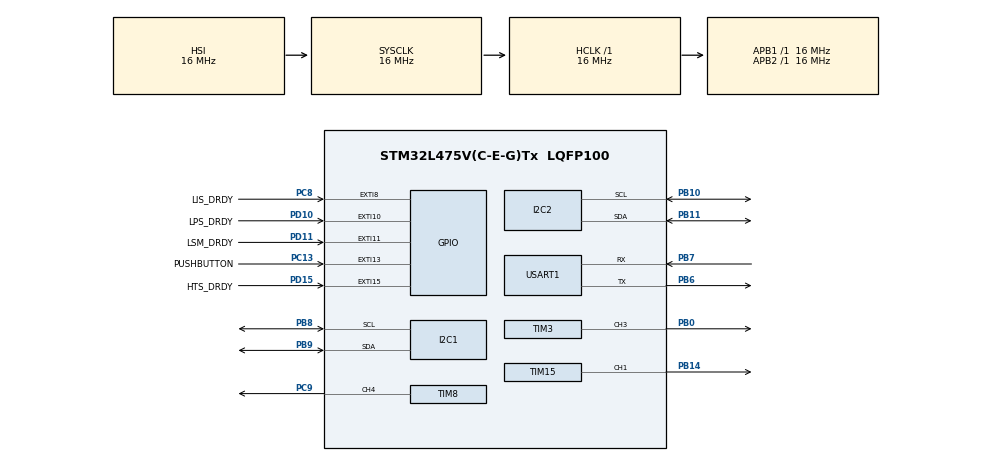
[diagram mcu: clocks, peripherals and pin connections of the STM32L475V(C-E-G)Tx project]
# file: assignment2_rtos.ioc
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Dma.Request0=USART1_RX
Dma.Request1=USART1_TX
Dma.USART1_RX.0.Direction=DMA_PERIPH_TO_MEMORY
Dma.USART1_RX.0.Instance=DMA1_Channel5
Dma.USART1_RX.0.MemDataAlignment=DMA_MDATAALIGN_BYTE
Dma.USART1_RX.0.MemInc=DMA_MINC_ENABLE
Dma.USART1_RX.0.Mode=DMA_CIRCULAR
Dma.USART1_RX.0.PeriphDataAlignment=DMA_PDATAALIGN_BYTE
Dma.USART1_RX.0.PeriphInc=DMA_PINC_DISABLE
Dma.USART1_RX.0.Priority=DMA_PRIORITY_LOW
Dma.USART1_TX.1.Direction=DMA_MEMORY_TO_PERIPH
Dma.USART1_TX.1.Instance=DMA1_Channel4
Dma.USART1_TX.1.MemDataAlignment=DMA_MDATAALIGN_BYTE
Dma.USART1_TX.1.MemInc=DMA_MINC_ENABLE
Dma.USART1_TX.1.Mode=DMA_NORMAL
Dma.USART1_TX.1.PeriphDataAlignment=DMA_PDATAALIGN_BYTE
Dma.USART1_TX.1.PeriphInc=DMA_PINC_DISABLE
Dma.USART1_TX.1.Priority=DMA_PRIORITY_LOW
FREERTOS.INCLUDE_vTaskDelayUntil=1
FREERTOS.INCLUDE_xEventGroupSetBitFromISR=1
FREERTOS.INCLUDE_xQueueGetMutexHolder=1
FREERTOS.INCLUDE_xSemaphoreGetMutexHolder=1
FREERTOS.INCLUDE_xTaskGetCurrentTaskHandle=1
FREERTOS.INCLUDE_xTimerPendFunctionCall=1
FREERTOS.Tasks01=defaultTask,-3,512,StartDefaultTask,Default,NULL,Dynamic,NULL,NULL
FREERTOS.configCHECK_FOR_STACK_OVERFLOW=2
FREERTOS.configLIBRARY_LOWEST_INTERRUPT_PRIORITY=7
FREERTOS.configMAX_PRIORITIES=7
FREERTOS.configMINIMAL_STACK_SIZE=128
FREERTOS.configTOTAL_HEAP_SIZE=30000
FREERTOS.configUSE_COUNTING_SEMAPHORES=1
FREERTOS.configUSE_CO_ROUTINES=1
FREERTOS.configUSE_NEWLIB_REENTRANT=1
FREERTOS.configUSE_RECURSIVE_MUTEXES=1
FREERTOS.configUSE_TIMERS=1
I2C1.Timing=0x00303D5B
I2C2.Timing=0x00303D5B
Mcu.Family=STM32L4
Mcu.Name=STM32L475V(C-E-G)Tx
Mcu.Package=LQFP100
NVIC.DMA1_Channel4_IRQn=true\:5\:0\:false\:false\:true\:true\:false\:true\:true
NVIC.DMA1_Channel5_IRQn=true\:5\:0\:false\:false\:true\:true\:false\:true\:true
NVIC.EXTI15_10_IRQn=true\:5\:0\:false\:false\:true\:true\:true\:true\:true
NVIC.EXTI9_5_IRQn=true\:5\:0\:false\:false\:true\:true\:true\:true\:true
NVIC.PriorityGroup=NVIC_PRIORITYGROUP_4
NVIC.TIM6_DAC_IRQn=true\:15\:0\:false\:false\:true\:false\:false\:true\:true
NVIC.TimeBase=TIM6_DAC_IRQn
NVIC.TimeBaseIP=TIM6
NVIC.USART1_IRQn=true\:5\:0\:false\:false\:true\:true\:true\:true\:true
PB0.Signal=S_TIM3_CH3
PB10.Mode=I2C
PB10.Signal=I2C2_SCL
PB11.Mode=I2C
PB11.Signal=I2C2_SDA
PB14.Signal=S_TIM15_CH1
PB6.Mode=Asynchronous
PB6.Signal=USART1_TX
PB7.Mode=Asynchronous
PB7.Signal=USART1_RX
PB8.Mode=I2C
PB8.Signal=I2C1_SCL
PB9.Mode=I2C
PB9.Signal=I2C1_SDA
PC13.GPIO_Label=PUSHBUTTON
PC13.GPIO_ModeDefaultEXTI=GPIO_MODE_IT_FALLING
PC13.GPIO_PuPd=GPIO_PULLUP
PC13.Signal=GPXTI13
PC8.GPIO_Label=LIS_DRDY
PC8.GPIO_PuPd=GPIO_PULLDOWN
PC8.Signal=GPXTI8
PC9.Signal=S_TIM8_CH4
PD10.GPIO_Label=LPS_DRDY
PD10.GPIO_PuPd=GPIO_PULLDOWN
PD10.Signal=GPXTI10
PD11.GPIO_Label=LSM_DRDY
PD11.GPIO_PuPd=GPIO_PULLDOWN
PD11.Signal=GPXTI11
PD15.GPIO_Label=HTS_DRDY
PD15.GPIO_PuPd=GPIO_PULLDOWN
PD15.Signal=GPXTI15
PH0-OSC_IN\ (PH0).Mode=HSE-External-Oscillator
PH0-OSC_IN\ (PH0).Signal=RCC_OSC_IN
PH1-OSC_OUT\ (PH1).Mode=HSE-External-Oscillator
PH1-OSC_OUT\ (PH1).Signal=RCC_OSC_OUT
ProjectManager.HeapSize=0x1200
ProjectManager.StackSize=0x3000
ProjectManager.TargetToolchain=STM32CubeIDE
RCC.ADCFreq_Value=32000000
RCC.AHBFreq_Value=16000000
RCC.APB1Freq_Value=16000000
RCC.APB1TimFreq_Value=16000000
RCC.APB2Freq_Value=16000000
RCC.APB2TimFreq_Value=16000000
RCC.CortexFreq_Value=16000000
RCC.HCLKFreq_Value=16000000
RCC.HSE_VALUE=8000000
RCC.HSI_VALUE=16000000
RCC.LSE_VALUE=32768
RCC.MSI_VALUE=4000000
RCC.PLLN=16
RCC.PLLSourceVirtual=RCC_PLLSOURCE_HSE
RCC.SYSCLKFreq_VALUE=16000000
RCC.SYSCLKSource=RCC_SYSCLKSOURCE_HSI
RCC.USBFreq_Value=32000000
RCC.VCOOutputFreq_Value=128000000
SH.S_TIM15_CH1.0=TIM15_CH1,PWM Generation1 CH1
SH.S_TIM3_CH3.0=TIM3_CH3,PWM Generation3 CH3
SH.S_TIM8_CH4.0=TIM8_CH4,PWM Generation4 CH4
TIM15.Channel-PWM\ Generation1\ CH1=TIM_CHANNEL_1
TIM15.Period=1999
TIM15.Prescaler=119
TIM3.Channel-PWM\ Generation3\ CH3=TIM_CHANNEL_3
TIM3.Period=4545
TIM3.Prescaler=8-1
TIM8.Channel-PWM\ Generation4\ CH4=TIM_CHANNEL_4
TIM8.OCIdleState_4=TIM_OCIDLESTATE_SET
TIM8.Period=9999
TIM8.Prescaler=1599
TIM8.Pulse-PWM\ Generation4\ CH4=9999
USART1.VirtualMode-Asynchronous=VM_ASYNC
VP_FREERTOS_VS_CMSIS_V1.Mode=CMSIS_V1
VP_SYS_VS_tim6.Mode=TIM6
board=custom

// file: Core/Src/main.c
/* USER CODE BEGIN Header */
/**
  ******************************************************************************
  * @file           : main.c
  * @brief          : Main program body
  ******************************************************************************
  * @attention
  *
  * Copyright (c) 2023 STMicroelectronics.
  * All rights reserved.
  *
  * This software is licensed under terms that can be found in the LICENSE file
  * in the root directory of this software component.
  * If no LICENSE file comes with this software, it is provided AS-IS.
  *
  ******************************************************************************
  */
/* USER CODE END Header */
#include "main.h"
#include "cmsis_os.h"
#include "dma.h"
#include "i2c.h"
#include "tim.h"
#include "usart.h"
#include "gpio.h"

/* USER CODE BEGIN Includes */
#include "stdio.h"
/* USER CODE END Includes */

void SystemClock_Config(void);
void MX_FREERTOS_Init(void);

int main(void)
{

  /* MCU Configuration--------------------------------------------------------*/

  /* Reset of all peripherals, Initializes the Flash interface and the Systick. */
  HAL_Init();

  /* Configure the system clock */
  SystemClock_Config();

  /* Initialize all configured peripherals */
  MX_GPIO_Init();
  MX_DMA_Init();
  MX_USART1_UART_Init();
  MX_TIM3_Init();
  MX_TIM8_Init();
  MX_TIM15_Init();
  MX_I2C1_Init();
  MX_I2C2_Init();

  /* Call init function for freertos objects (in freertos.c) */
  MX_FREERTOS_Init();

  /* Start scheduler */
  osKernelStart();

  /* We should never get here as control is now taken by the scheduler */
  /* Infinite loop */
  while (1)
  {

  }
}

void SystemClock_Config(void)
{
  RCC_OscInitTypeDef RCC_OscInitStruct = {0};
  RCC_ClkInitTypeDef RCC_ClkInitStruct = {0};

  /** Configure the main internal regulator output voltage
  */
  if (HAL_PWREx_ControlVoltageScaling(PWR_REGULATOR_VOLTAGE_SCALE1) != HAL_OK)
  {
    Error_Handler();
  }

  /** Initializes the RCC Oscillators according to the specified parameters
  * in the RCC_OscInitTypeDef structure.
  */
  RCC_OscInitStruct.OscillatorType = RCC_OSCILLATORTYPE_HSI;
  RCC_OscInitStruct.HSIState = RCC_HSI_ON;
  RCC_OscInitStruct.HSICalibrationValue = RCC_HSICALIBRATION_DEFAULT;
  RCC_OscInitStruct.PLL.PLLState = RCC_PLL_NONE;
  if (HAL_RCC_OscConfig(&RCC_OscInitStruct) != HAL_OK)
  {
    Error_Handler();
  }

  /** Initializes the CPU, AHB and APB buses clocks
  */
  RCC_ClkInitStruct.ClockType = RCC_CLOCKTYPE_HCLK|RCC_CLOCKTYPE_SYSCLK
                              |RCC_CLOCKTYPE_PCLK1|RCC_CLOCKTYPE_PCLK2;
  RCC_ClkInitStruct.SYSCLKSource = RCC_SYSCLKSOURCE_HSI;
  RCC_ClkInitStruct.AHBCLKDivider = RCC_SYSCLK_DIV1;
  RCC_ClkInitStruct.APB1CLKDivider = RCC_HCLK_DIV1;
  RCC_ClkInitStruct.APB2CLKDivider = RCC_HCLK_DIV1;

  if (HAL_RCC_ClockConfig(&RCC_ClkInitStruct, FLASH_LATENCY_0) != HAL_OK)
  {
    Error_Handler();
  }
}

void HAL_TIM_PeriodElapsedCallback(TIM_HandleTypeDef *htim)
{
  if (htim->Instance == TIM6) {
    HAL_IncTick();
  }
}

void Error_Handler(void)
{
  __disable_irq();
  while (1)
  {
  }
}

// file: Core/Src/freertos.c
/* USER CODE BEGIN Header */
/**
 ******************************************************************************
 * File Name          : freertos.c
 * Description        : Code for freertos applications
 ******************************************************************************
 * @attention
 *
 * Copyright (c) 2023 STMicroelectronics.
 * All rights reserved.
 *
 * This software is licensed under terms that can be found in the LICENSE file
 * in the root directory of this software component.
 * If no LICENSE file comes with this software, it is provided AS-IS.
 *
 ******************************************************************************
 */
/* USER CODE END Header */

#include "FreeRTOS.h"
#include "task.h"
#include "main.h"
#include "cmsis_os.h"

/* USER CODE BEGIN Includes */
#include "rtos_incs.h"
#include "lis_task.h"
#include "lps_task.h"
#include "lsm_task.h"
#include "hts_task.h"
#include "uart1_task.h"
#include "buzzer_task.h"
#include "warship_task.h"
#include "matrix_task.h"
/* USER CODE END Includes */

/* USER CODE BEGIN Variables */

TaskHandle_t uart1_task_handle;
TaskHandle_t lis_task_handle;
TaskHandle_t lps_task_handle;
TaskHandle_t lsm_task_handle;
TaskHandle_t hts_task_handle;
TaskHandle_t warship_task_handle;
TaskHandle_t buzzer_task_handle;
TaskHandle_t matrix_task_handle;

QueueHandle_t UART1_queue;

SemaphoreHandle_t iic2Mutex;
EventGroupHandle_t changeStateFlag;

/* USER CODE END Variables */
osThreadId defaultTaskHandle;

void StartDefaultTask(void const * argument);

void MX_FREERTOS_Init(void); /* (MISRA C 2004 rule 8.1) */

/* GetIdleTaskMemory prototype (linked to static allocation support) */
void vApplicationGetIdleTaskMemory( StaticTask_t **ppxIdleTaskTCBBuffer, StackType_t **ppxIdleTaskStackBuffer, uint32_t *pulIdleTaskStackSize );

/* GetTimerTaskMemory prototype (linked to static allocation support) */
void vApplicationGetTimerTaskMemory( StaticTask_t **ppxTimerTaskTCBBuffer, StackType_t **ppxTimerTaskStackBuffer, uint32_t *pulTimerTaskStackSize );

/* Hook prototypes */
void vApplicationStackOverflowHook(xTaskHandle xTask, signed char *pcTaskName);

/* USER CODE BEGIN 4 */
__weak void vApplicationStackOverflowHook(xTaskHandle xTask,
		signed char *pcTaskName) {
	/* Run time stack overflow checking is performed if
	 configCHECK_FOR_STACK_OVERFLOW is defined to 1 or 2. This hook function is
	 called if a stack overflow is detected. */
}
/* USER CODE END 4 */

/* USER CODE BEGIN GET_IDLE_TASK_MEMORY */
static StaticTask_t xIdleTaskTCBBuffer;
static StackType_t xIdleStack[configMINIMAL_STACK_SIZE];

void vApplicationGetIdleTaskMemory(StaticTask_t **ppxIdleTaskTCBBuffer,
		StackType_t **ppxIdleTaskStackBuffer, uint32_t *pulIdleTaskStackSize) {
	*ppxIdleTaskTCBBuffer = &xIdleTaskTCBBuffer;
	*ppxIdleTaskStackBuffer = &xIdleStack[0];
	*pulIdleTaskStackSize = configMINIMAL_STACK_SIZE;
	/* place for user code */
}
/* USER CODE END GET_IDLE_TASK_MEMORY */

/* USER CODE BEGIN GET_TIMER_TASK_MEMORY */
static StaticTask_t xTimerTaskTCBBuffer;
static StackType_t xTimerStack[configTIMER_TASK_STACK_DEPTH];

void vApplicationGetTimerTaskMemory(StaticTask_t **ppxTimerTaskTCBBuffer,
		StackType_t **ppxTimerTaskStackBuffer, uint32_t *pulTimerTaskStackSize) {
	*ppxTimerTaskTCBBuffer = &xTimerTaskTCBBuffer;
	*ppxTimerTaskStackBuffer = &xTimerStack[0];
	*pulTimerTaskStackSize = configTIMER_TASK_STACK_DEPTH;
	/* place for user code */
}
/* USER CODE END GET_TIMER_TASK_MEMORY */

void MX_FREERTOS_Init(void) {

  /* USER CODE BEGIN RTOS_QUEUES */
	/* add queues, ... */
	UART1_queue = xQueueCreate(5, sizeof(queue_UART_msg_t*));
  /* USER CODE END RTOS_QUEUES */

  /* Create the thread(s) */
  /* definition and creation of defaultTask */
  osThreadDef(defaultTask, StartDefaultTask, osPriorityIdle, 0, 512);
  defaultTaskHandle = osThreadCreate(osThread(defaultTask), NULL);

  /* USER CODE BEGIN RTOS_THREADS */

	iic2Mutex = xSemaphoreCreateMutex();
	changeStateFlag = xEventGroupCreate();
	if (iic2Mutex != NULL) {
		//error somehow? lol
		xTaskCreate(lis_task, "lis_task", 512, (void*) 1,
		/*priority*/(UBaseType_t) 5, &lis_task_handle);
		xTaskCreate(lps_task, "lps_task", 512, (void*) 1,
		/*priority*/(UBaseType_t) 5, &lps_task_handle);
		xTaskCreate(hts_task, "hts_task", 512, (void*) 1,
		/*priority*/(UBaseType_t) 5, &hts_task_handle);
		xTaskCreate(lsm_task, "lsm_task", 512, (void*) 1,
		/*priority*/(UBaseType_t) 5, &lsm_task_handle);
	}
	xTaskCreate(buzzer_task, "buzzer_task", 512, (void*) 1,
	/*priority*/(UBaseType_t) 5, &buzzer_task_handle);
	xTaskCreate(uart1_task, "uart_task", 768, (void*) 1,
	/*priority*/(UBaseType_t) 6, &uart1_task_handle);
	xTaskCreate(warship_task, "warship_task", 512, (void*) 1,
	/*priority*/(UBaseType_t) 4, &warship_task_handle);
	xTaskCreate(matrix_task, "matrix_task", 512, (void*) 1,
	/*priority*/(UBaseType_t) 4, &matrix_task_handle);
	/* add threads, ... */
  /* USER CODE END RTOS_THREADS */

}

void StartDefaultTask(void const * argument)
{
	for (;;) {
		osDelay(1);
	}
}
